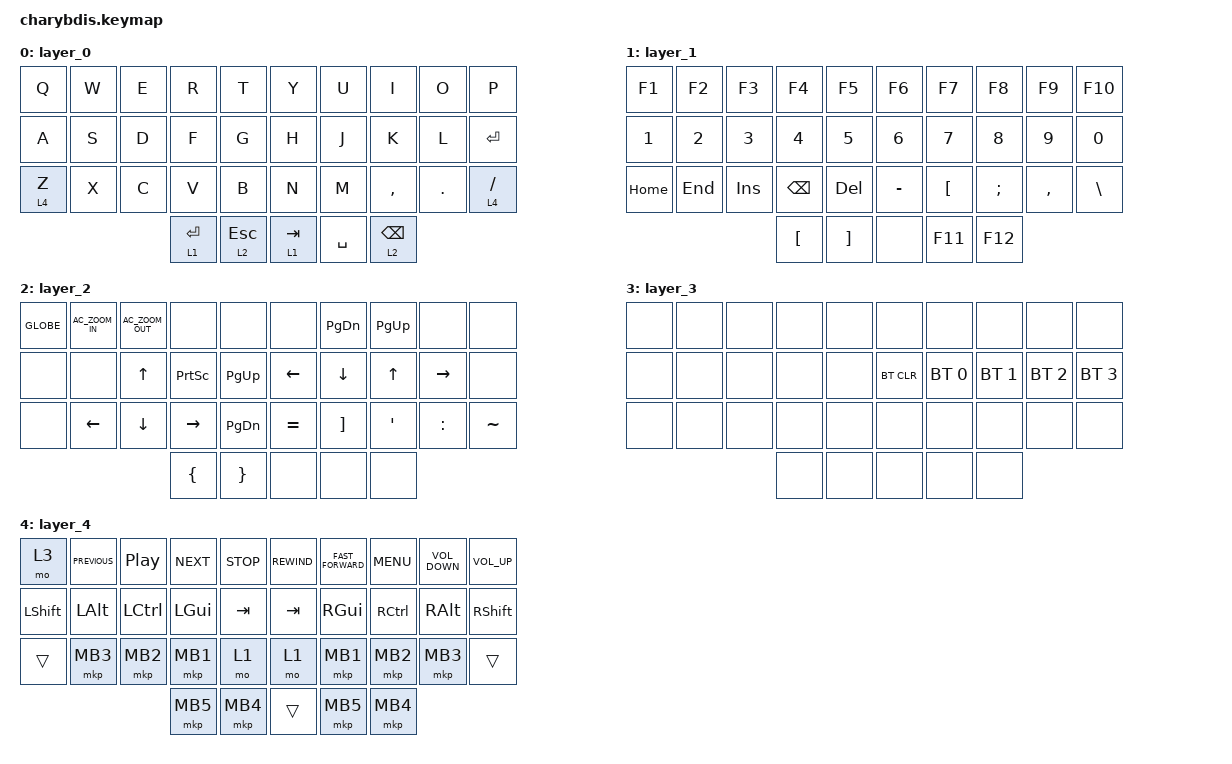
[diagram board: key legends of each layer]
#include <behaviors.dtsi>
#include <dt-bindings/zmk/bt.h>
#include <dt-bindings/zmk/keys.h>
#include <dt-bindings/zmk/pointing.h>
#include <dt-bindings/zmk/rgb.h>

&lt {
    tapping-term-ms = <200>;
    flavor = "balanced";
    quick-tap-ms = <150>;
};

/ {
    macros {
        To1_macro: To1_macro {
            compatible = "zmk,behavior-macro";
            label = "To1_macro";
            #binding-cells = <0>;
            bindings = <&rgb_ug RGB_EFF &rgb_ug RGB_COLOR_HSB(128,100,50) &to 1>;
        };

        To0_macro: To0_macro {
            compatible = "zmk,behavior-macro";
            label = "To0_macro";
            #binding-cells = <0>;
            bindings = <&rgb_ug RGB_EFR &to 0>;
        };

        To2_macro: To2_macro {
            compatible = "zmk,behavior-macro";
            label = "To2_macro";
            #binding-cells = <0>;
            bindings =
                <&to 0>,
                <&macro_wait_time 30>,
                <&rgb_ug RGB_COLOR_HSB(250,100,50)>;
        };
    };

    keymap {
        compatible = "zmk,keymap";

        layer_0 {
            bindings = <
&kp Q    &kp W  &kp E  &kp R        &kp T        &kp Y      &kp U      &kp I            &kp O    &kp P
&kp A    &kp S  &kp D  &kp F        &kp G        &kp H      &kp J      &kp K            &kp L    &kp ENTER
&lt 4 Z  &kp X  &kp C  &kp V        &kp B        &kp N      &kp M      &kp COMMA        &kp DOT  &lt 4 SLASH
                       &lt 1 ENTER  &lt 2 ESC    &lt 1 TAB  &kp SPACE  &lt 2 BACKSPACE
            >;
        };

        layer_1 {
            bindings = <
&kp F1    &kp F2   &kp F3      &kp F4         &kp F5      &kp F6     &kp F7            &kp F8         &kp F9     &kp F10
&kp N1    &kp N2   &kp N3      &kp N4         &kp N5      &kp N6     &kp N7            &kp N8         &kp N9     &kp N0
&kp HOME  &kp END  &kp INSERT  &kp BACKSPACE  &kp DEL     &kp MINUS  &kp LEFT_BRACKET  &kp SEMICOLON  &kp COMMA  &kp BACKSLASH
                               &kp LBKT       &kp RBKT    &none      &kp F11           &kp F12
            >;
        };

        layer_2 {
            bindings = <
&kp GLOBE  &kp C_AC_ZOOM_IN  &kp C_AC_ZOOM_OUT  &none            &none            &none           &kp PAGE_DOWN   &kp PAGE_UP   &none            &none
&none      &none             &kp UP_ARROW       &kp PRINTSCREEN  &kp PAGE_UP      &kp LEFT_ARROW  &kp DOWN_ARROW  &kp UP_ARROW  &kp RIGHT_ARROW  &none
&none      &kp LEFT_ARROW    &kp DOWN_ARROW     &kp RIGHT_ARROW  &kp PAGE_DOWN    &kp EQUAL       &kp RBKT        &kp SQT       &kp COLON        &kp TILDE
                                                &kp LBRC         &kp RBRC         &none           &none           &none
            >;
        };

        layer_3 {
            bindings = <
&none  &none  &none  &none  &none    &none       &none         &none         &none         &none
&none  &none  &none  &none  &none    &bt BT_CLR  &bt BT_SEL 0  &bt BT_SEL 1  &bt BT_SEL 2  &bt BT_SEL 3
&none  &none  &none  &none  &none    &none       &none         &none         &none         &none
                     &none  &none    &none       &none         &none
            >;
        };

        layer_4 {
            bindings = <
&mo 3           &kp C_PREVIOUS  &kp C_PLAY_PAUSE  &kp C_NEXT    &kp C_STOP    &kp C_REWIND  &kp C_FAST_FORWARD  &kp C_MENU  &kp K_VOLUME_DOWN  &kp C_VOLUME_UP
&kp LEFT_SHIFT  &kp LEFT_ALT    &kp LCTRL         &kp LEFT_GUI  &kp TAB       &kp TAB       &kp RIGHT_GUI       &kp RCTRL   &kp RIGHT_ALT      &kp RIGHT_SHIFT
&trans          &mkp MB3        &mkp MB2          &mkp MB1      &mo 1         &mo 1         &mkp MB1            &mkp MB2    &mkp MB3           &trans
                                                  &mkp MB5      &mkp MB4      &trans        &mkp MB5            &mkp MB4
            >;
        };

        /* layer_2 {
            bindings = <
&none  &none   &none    &none   &none         &none         &kp N1         &none         &none     &none  &none   &to 0
&none  &none   &none    &none   &none         &none         &none         &none          &rgb_ug RGB_BRD &rgb_ug RGB_BRI  &rgb_ug RGB_EFF   &rgb_ug RGB_TOG
&none  &none   &none    &none   &none         &none         &none         &mkp LCLK     &mkp RCLK  &none  &none   &none
&none  &none   &none    &none   &bt BT_NXT  &bt BT_CLR    &none         &none         &none     &none  &none   &none
                                   &none         &none         &none         &none         &none
                                                 &none         &none         &none
            >;
       
            
        };

       Mouse {
            bindings = <
&none        &none         &none         &none         &none      &none         &none       &none      &none         &none         &none         &none
&none        &bt BT_SEL 0  &bt BT_SEL 1  &bt BT_SEL 3  &none      &bt BT_CLR    &bt BT_CLR  &none      &bt BT_SEL 2  &bt BT_SEL 1  &bt BT_SEL 0  &none
&none        &trans        &trans        &mkp MCLK     &trans     &none         &none       &trans     &mkp MCLK     &trans        &trans        &none
&bootloader  &trans        &mkp RCLK     &mo 4         &mkp LCLK  &mo 5         &mo 5       &mkp LCLK  &mo 4         &mkp RCLK     &trans        &bootloader
                                         &mo 5         &mkp LCLK  &mkp RCLK     &mkp RCLK   &mkp LCLK
                                                       &none      &trans        &trans
            >;

            
        };

        layer_4 {
            bindings = <
&trans  &trans  &trans     &trans     &trans     &trans       &trans     &trans     &trans     &trans     &trans  &trans
&trans  &trans  &trans     &trans     &trans     &trans       &trans     &trans     &trans     &trans     &trans  &trans
&trans  &trans  &trans     &mkp MCLK  &trans     &trans       &trans     &trans     &mkp MCLK  &trans     &trans  &trans
&trans  &trans  &mkp RCLK  &trans     &mkp LCLK  &trans       &trans     &mkp LCLK  &trans     &mkp RCLK  &trans  &trans
                           &trans     &mkp LCLK  &mkp RCLK    &mkp RCLK  &mkp LCLK
                                      &trans     &trans       &trans
            >;
                
                
               
        };

        layer_5 {
            bindings = <
&trans  &trans  &trans     &trans     &trans     &trans       &trans     &trans     &trans     &trans     &trans  &trans
&trans  &trans  &trans     &trans     &trans     &trans       &trans     &trans     &trans     &trans     &trans  &trans
&trans  &trans  &trans     &mkp MCLK  &trans     &trans       &trans     &trans     &mkp MCLK  &trans     &trans  &trans
&trans  &trans  &mkp RCLK  &trans     &mkp LCLK  &trans       &trans     &mkp LCLK  &trans     &mkp RCLK  &trans  &trans
                           &trans     &mkp LCLK  &mkp RCLK    &mkp RCLK  &mkp LCLK
                                      &trans     &trans       &trans
            >;
                
                
        };*/
    };
};
